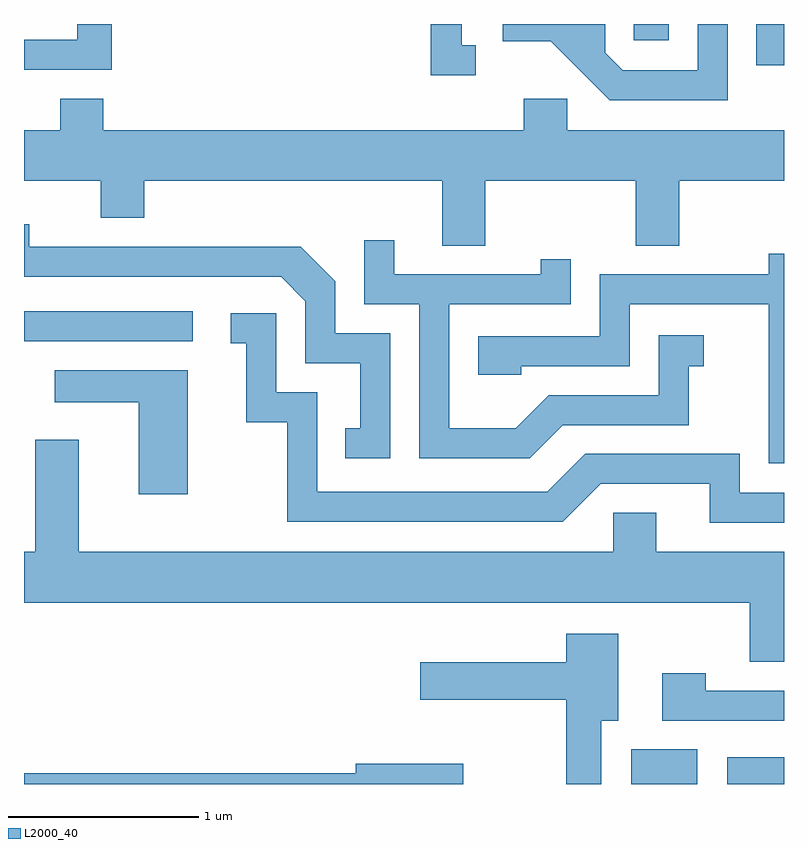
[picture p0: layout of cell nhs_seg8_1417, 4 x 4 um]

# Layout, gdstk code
import gdstk
lib = gdstk.Library(unit=1e-6, precision=1e-09)
def R(c, l, rs):  # rectangles x0, y0, x1, y1
    for r in rs: c.add(gdstk.rectangle(r[:2], r[2:], *l))
def P(c, l, *ps):  # polygons
    for p in ps: c.add(gdstk.Polygon(p, *l))
L2000_40 = (2000, 40)

nhs_seg8_1417 = lib.new_cell('nhs_seg8_1417')
R(nhs_seg8_1417, L2000_40, [(230.806,1844.342,231.154,1844.524), (231.311,1844.342,231.611,1844.484), (227.611,1846.671,228.498,1846.829), (231.466,1848.126,231.611,1848.342), (230.821,1848.256,231.004,1848.342)])
P(nhs_seg8_1417, L2000_40, [(228.074,1848.342),(227.891,1848.342),(227.891,1848.259),(227.611,1848.259),(227.611,1848.101),(228.074,1848.101)],
  [(231.314,1848.342),(231.156,1848.342),(231.156,1848.099),(230.762,1848.099),(230.669,1848.192),(230.669,1848.342),(230.131,1848.342),(230.131,1848.251),(230.384,1848.251),(230.694,1847.941),(231.314,1847.941)],
  [(229.988,1848.229),(229.914,1848.229),(229.914,1848.342),(229.751,1848.342),(229.751,1848.071),(229.988,1848.071)],
  [(230.039,1847.516),(230.831,1847.516),(230.831,1847.176),(231.059,1847.176),(231.059,1847.516),(231.611,1847.516),(231.611,1847.784),(230.469,1847.784),(230.469,1847.949),(230.241,1847.949),(230.241,1847.784),(228.029,1847.784),(228.029,1847.949),(227.801,1847.949),(227.801,1847.784),(227.611,1847.784),(227.611,1847.516),(228.016,1847.516),(228.016,1847.321),(228.244,1847.321),(228.244,1847.516),(229.811,1847.516),(229.811,1847.176),(230.039,1847.176)],
  [(229.539,1846.714),(229.249,1846.714),(229.249,1846.987),(229.067,1847.169),(227.639,1847.169),(227.639,1847.289),(227.611,1847.289),(227.611,1847.011),(228.964,1847.011),(229.091,1846.884),(229.091,1846.556),(229.381,1846.556),(229.381,1846.214),(229.303,1846.214),(229.303,1846.056),(229.539,1846.056)],
  [(230.447,1846.231),(231.109,1846.231),(231.109,1846.541),(231.188,1846.541),(231.188,1846.704),(230.951,1846.704),(230.951,1846.389),(230.374,1846.389),(230.199,1846.214),(229.849,1846.214),(229.849,1846.866),(230.489,1846.866),(230.489,1847.103),(230.331,1847.103),(230.331,1847.024),(229.559,1847.024),(229.559,1847.203),(229.401,1847.203),(229.401,1846.866),(229.691,1846.866),(229.691,1846.056),(230.272,1846.056)],
  [(231.611,1847.134),(231.531,1847.134),(231.531,1847.024),(230.641,1847.024),(230.641,1846.699),(230.001,1846.699),(230.001,1846.496),(230.229,1846.496),(230.229,1846.541),(230.799,1846.541),(230.799,1846.866),(231.531,1846.866),(231.531,1846.031),(231.611,1846.031)],
  [(231.611,1845.874),(231.379,1845.874),(231.379,1846.079),(230.564,1846.079),(230.364,1845.879),(229.154,1845.879),(229.154,1846.404),(228.939,1846.404),(228.939,1846.819),(228.698,1846.819),(228.698,1846.661),(228.781,1846.661),(228.781,1846.246),(228.996,1846.246),(228.996,1845.721),(230.447,1845.721),(230.647,1845.921),(231.221,1845.921),(231.221,1845.716),(231.611,1845.716)],
  [(228.474,1846.519),(227.773,1846.519),(227.773,1846.351),(228.216,1846.351),(228.216,1845.866),(228.474,1845.866)],
  [(231.611,1845.564),(230.939,1845.564),(230.939,1845.769),(230.711,1845.769),(230.711,1845.564),(227.899,1845.564),(227.899,1846.154),(227.671,1846.154),(227.671,1845.564),(227.611,1845.564),(227.611,1845.296),(231.431,1845.296),(231.431,1844.986),(231.611,1844.986)],
  [(230.649,1844.676),(230.739,1844.676),(230.739,1845.134),(230.466,1845.134),(230.466,1844.984),(229.696,1844.984),(229.696,1844.786),(230.466,1844.786),(230.466,1844.342),(230.649,1844.342)],
  [(231.611,1844.834),(231.199,1844.834),(231.199,1844.924),(230.971,1844.924),(230.971,1844.676),(231.611,1844.676)],
  [(229.924,1844.449),(229.356,1844.449),(229.356,1844.399),(227.611,1844.399),(227.611,1844.342),(229.924,1844.342)])

lib.write_gds('nhs_seg8_1417.gds')
